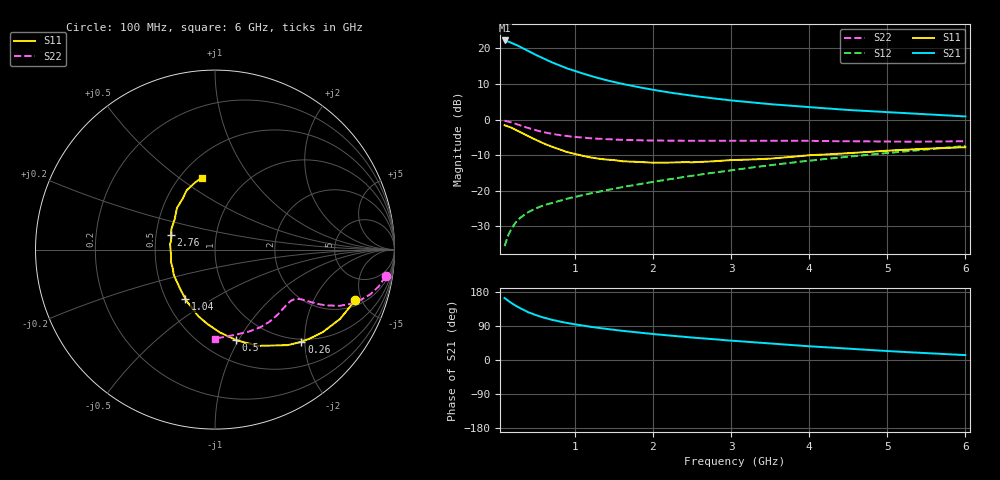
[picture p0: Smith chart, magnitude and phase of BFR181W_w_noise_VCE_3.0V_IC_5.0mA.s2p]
! Infineon Technologies  Discrete & RF Semiconductors
! BFR181W
! VCE =  3.0 V,  IC =  5.0 mA
! Common Emitter S-Parameters:  Nov 2015
# GHz  S  MA  R  50
!  f  S11  S21  S12  S22
! GHz  MAG  ANG  MAG  ANG  MAG  ANG  MAG  ANG
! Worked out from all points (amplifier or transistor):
!   192 points, 100 MHz to 6 GHz, reference 50 ohm
!   highest |S21| = 22.2 dB at 100 MHz (marker M1)
!   |S21| within 3 dB of that: start of sweep to 406.5 MHz
!   unconditionally stable (mu >= 1): 1.423 GHz to 3.162 GHz
!   at 440 MHz: K = 0.51, MSG = 22.3 dB, |S12| = -25.7 dB
!   at 1.7 GHz: K = 1.04, MAG = 13.0 dB, |S12| = -18.7 dB
!   at 6 GHz: K = 0.79, MSG = 4.2 dB, |S12| = -7.4 dB
!   lowest NFmin = 1.55 dB at 450 MHz
!   S11 on the Smith chart (normalised r, x): 100 MHz: 2.44, -4.44; 260 MHz: 0.95, -1.93; 500 MHz: 0.71, -0.98; 1.04 GHz: 0.63, -0.38; 2.76 GHz: 0.60, +0.11; 6 GHz: 0.63, +0.61
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0.1  0.8309 -19.8  12.95 163.5  0.0165 78.8  0.9625 -8.9
0.15  0.7969 -29.0  12.46 155.6  0.024 75.1  0.9341 -12.8
0.195  0.7594 -36.6  11.91 149.2  0.0298 71.3  0.9031 -15.8
0.26  0.7039 -46.8  11.06 141.1  0.0375 67.3  0.8546 -19.3
0.3  0.6697 -52.6  10.52 136.3  0.0413 65.3  0.8263 -21.2
0.4  0.5878 -65.8  9.248 126.2  0.0495 61.7  0.7595 -24.4
0.5  0.5184 -76.8  8.129 118.4  0.0561 59.4  0.7049 -26.2
0.6  0.4607 -86.9  7.199 111.9  0.062 58.3  0.6624 -27.5
0.7  0.4167 -95.8  6.411 106.3  0.0667 58.0  0.6296 -28.2
0.8  0.3816 -104.3  5.791 101.7  0.0717 58.1  0.604 -28.8
0.9  0.3481 -111.8  5.24 97.6  0.0769 58.4  0.5841 -29.1
1.04  0.32 -121.0  4.663 92.9  0.0834 59.3  0.5634 -29.7
1.1  0.3086 -124.7  4.447 91.1  0.0863 59.6  0.556 -29.9
1.2  0.2927 -131.6  4.099 87.6  0.0912 60.0  0.5437 -30.4
1.5  0.2688 -148.9  3.368 79.6  0.1059 61.6  0.5221 -32.0
1.8  0.2544 -164.1  2.874 72.8  0.1219 63.0  0.5098 -34.0
2.08  0.2465 -175.6  2.531 67.1  0.1371 64.0  0.5052 -36.4
2.76  0.2578 161.4  1.995 55.2  0.1776 65.0  0.5023 -43.2
3.1  0.2703 152.5  1.812 49.6  0.1993 64.8  0.5029 -47.4
4.1  0.3176 130.4  1.466 35.0  0.2704 62.1  0.499 -61.2
5.1  0.3697 113.8  1.253 22.5  0.3456 57.8  0.488 -76.3
6  0.4075 100.6  1.105 12.9  0.4243 52.9  0.4955 -89.8
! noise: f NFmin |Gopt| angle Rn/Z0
0.45  1.55  0.48  17  0.36
0.9  1.65  0.4  35  0.34
1.8  2  0.18  88  0.34
